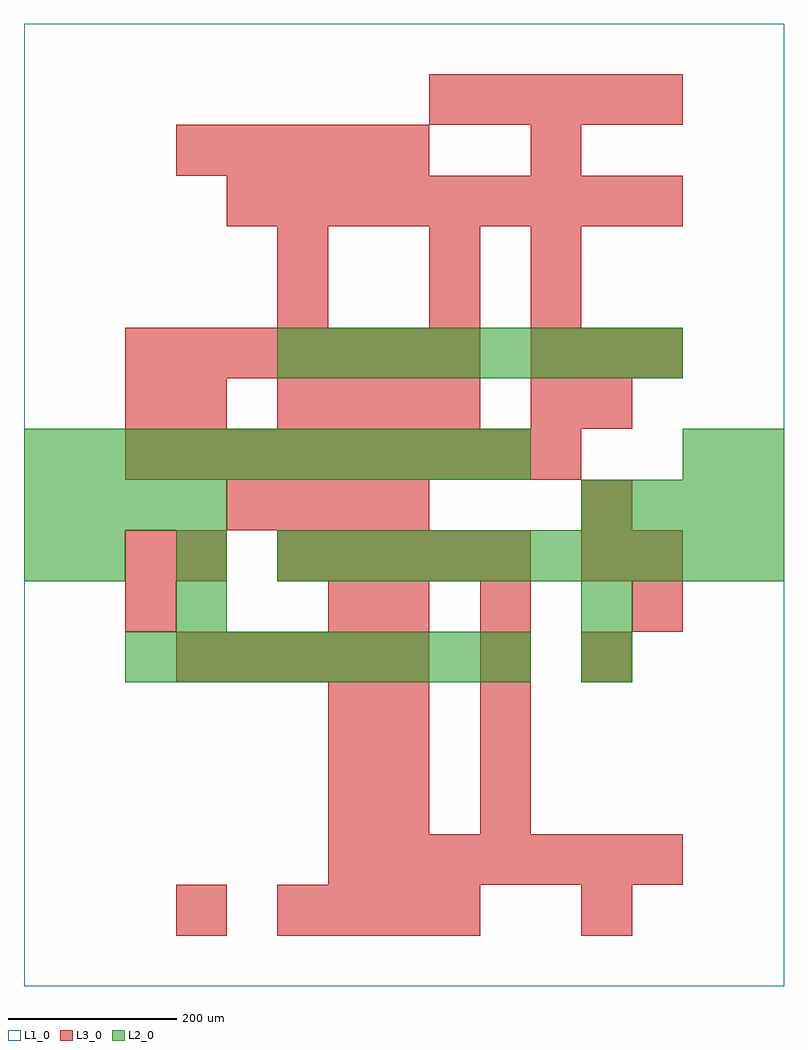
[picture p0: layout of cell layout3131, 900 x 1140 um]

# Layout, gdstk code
import gdstk
lib = gdstk.Library(unit=1e-6, precision=1e-09)
def R(c, l, rs):  # rectangles x0, y0, x1, y1
    for r in rs: c.add(gdstk.rectangle(r[:2], r[2:], *l))
def A(c, l, x, y, w, h, nx, ny, dx, dy):  # array of equal rectangles
    R(c, l, [(x+i*dx, y+j*dy, x+i*dx+w, y+j*dy+h) for i in range(nx) for j in range(ny)])
L1_0 = (1, 0)
L2_0 = (2, 0)
L3_0 = (3, 0)

layout3131 = lib.new_cell('layout3131')
R(layout3131, L1_0, [(0,0,900,1140)])
A(layout3131, L2_0, 120, 360, 60, 60, 8, 1, 60, 0)
A(layout3131, L2_0, 60, 480, 60, 60, 3, 1, 120, 0)
A(layout3131, L2_0, 360, 480, 60, 60, 9, 1, 60, 0)
A(layout3131, L2_0, 0, 540, 60, 60, 4, 1, 60, 0)
A(layout3131, L2_0, 660, 540, 60, 60, 4, 1, 60, 0)
A(layout3131, L2_0, 0, 600, 60, 60, 10, 1, 60, 0)
A(layout3131, L2_0, 300, 720, 60, 60, 8, 1, 60, 0)
R(layout3131, L2_0, [(660,360,720,420), (180,420,240,480), (660,420,720,480), (0,480,60,540), (780,600,840,660), (840,600,900,660)])
A(layout3131, L3_0, 300, 60, 60, 60, 4, 2, 60, 600)
A(layout3131, L3_0, 360, 120, 60, 60, 7, 1, 60, 0)
A(layout3131, L3_0, 360, 180, 60, 60, 1, 3, 0, 60)
A(layout3131, L3_0, 420, 180, 60, 60, 1, 3, 0, 60)
A(layout3131, L3_0, 540, 180, 60, 60, 1, 5, 0, 60)
A(layout3131, L3_0, 180, 360, 60, 60, 5, 2, 60, 600)
A(layout3131, L3_0, 300, 480, 60, 60, 5, 1, 60, 0)
A(layout3131, L3_0, 240, 540, 60, 60, 4, 1, 60, 0)
A(layout3131, L3_0, 120, 600, 60, 60, 9, 1, 60, 0)
A(layout3131, L3_0, 120, 720, 60, 60, 7, 1, 60, 0)
A(layout3131, L3_0, 600, 720, 60, 60, 3, 1, 60, 0)
A(layout3131, L3_0, 240, 900, 60, 60, 9, 1, 60, 0)
A(layout3131, L3_0, 480, 1020, 60, 60, 5, 1, 60, 0)
R(layout3131, L3_0, [(180,60,240,120), (660,60,720,120), (660,360,720,420), (120,420,180,480), (360,420,420,480), (420,420,480,480), (720,420,780,480), (120,480,180,540), (180,480,240,540), (660,480,720,540), (720,480,780,540), (660,540,720,600), (120,660,180,720), (180,660,240,720), (600,660,660,720), (660,660,720,720), (300,780,360,840), (480,780,540,840), (600,780,660,840), (300,840,360,900), (480,840,540,900), (600,840,660,900), (600,960,660,1020)])

lib.write_gds('layout3131.gds')
